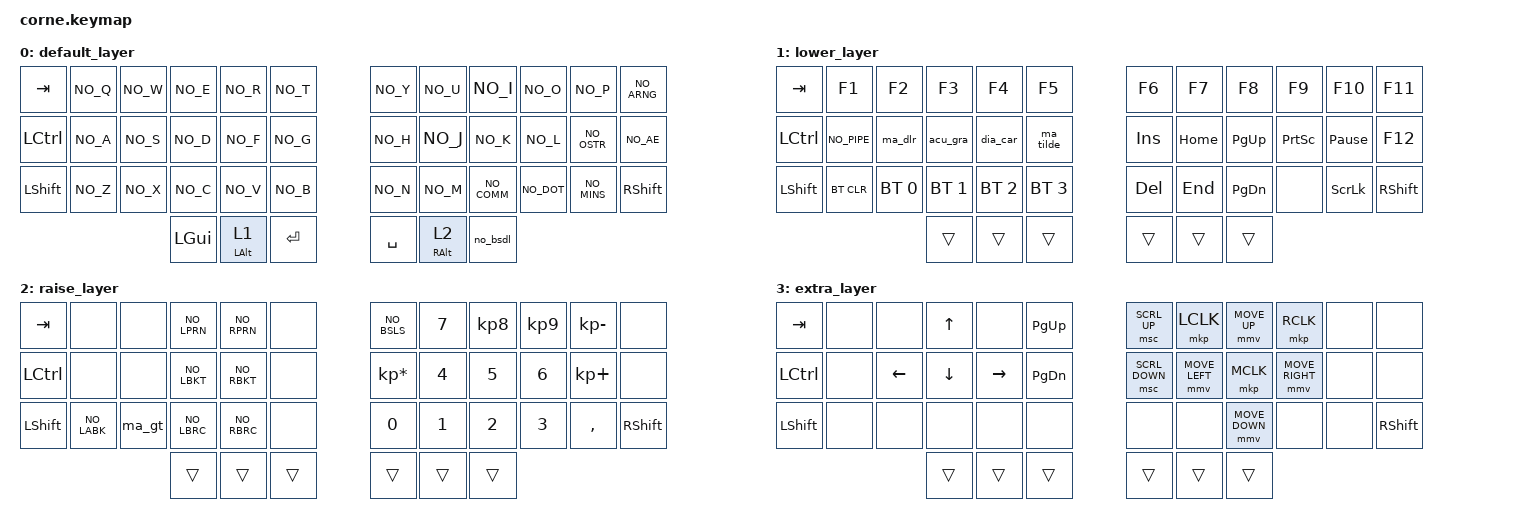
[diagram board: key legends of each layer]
/*
 * Copyright (c) 2020 The ZMK Contributors.
 *
 * SPDX-License-Identifier: MIT
 *
 * @bzgec : isyatsyso 
 ***************************************************************************************************
 * norwegian qwerty in base, with persnal flavour for add layers
 ***************************************************************************************************
 * Host layout: SI *
 ***************************************************************************************************
 * ZMK layer: (note: maybe)
 ***************************************************************************************************
 *  +--------+--------+--------+--------+--------+--------+             +--------+--------+--------+--------+--------+--------+
 *  |        |        |        |        |        |        |             |        |        |        |        |        |        |
 *  +--------+--------+--------+--------+--------+--------+             +--------+--------+--------+--------+--------+--------+
 *  |        |        |        | EP ON  | EP OFF | Reset  |             |        | To SI  | To SI  |        |        |        |
 *  |        |        |        |        |        |        |             |        | Linux  | Win    |        |        |        |
 *  +--------+--------+--------+--------+--------+--------+             +--------+--------+--------+--------+--------+--------+
 *  |        |        |        |        |        | Bootl  |             |        |        |        |        |        |        |
 *  +--------+--------+--------+----+---+----+---+----+---+----+   +----+---+----+---+----+---+----+--------+--------+--------+
 *                                  |        |        |        |   |        |        |        |
 *                                  +--------+--------+--------+   +--------+--------+--------+
 *
 * - `Reset`: Reset this side of the keyboard
 * - `Bootl`: Reset this side of the keyboard to bootloader mode
 * - `EP ON`: Enable external power (enable VCC power output)
 * - `To SI Linux`: Switch keyboard layout to match SI host layout, Linux host
 * - `To SI Win`: Switch keyboard layout to match SI host layout, Windows host
 * - `EP OFF`: Disable external power (disable VCC power output)
 *
 * - Difference between "SI Linux" and "SI Windows" is in how a few special characters
 *   are implemented but for the end use there should be no difference
 *
 *   - `no_n6_lin`    -> `no_n6_win` (`^`)
 *   - `no_grave_lin` -> `no_grave_win` (`\``, `~`)
 *
 ***************************************************************************************************
 */

#include <behaviors.dtsi>
#include <dt-bindings/zmk/keys.h>
#include <dt-bindings/zmk/bt.h>
#include <dt-bindings/zmk/pointing.h>
#include "keys_no.h"

#define xxx &none
#define ___ &trans

// https://zmk.dev/docs/features/debouncing
&kscan0 {
    debounce-press-ms = <3>;    // Default is 5 ms
    debounce-release-ms = <4>;  // Default is 5 ms
};


/ {
    macros {
        ma_gt: ma_gt {
            compatible = "zmk,behavior-macro";
            #binding-cells = <0>;
            bindings
                = <&macro_press &kp LSHFT>
                , <&macro_tap &kp NO_LABK>
                , <&macro_release &kp LSHFT>
                ;
        };
	ma_dlr: ma_dlr {
            compatible = "zmk,behavior-macro";
            #binding-cells = <0>;
            bindings
                = <&macro_press &kp LALT>
                , <&macro_tap &kp KP_N3 &kp KP_N6>
                , <&macro_release &kp LALT>
		;
	};
	ma_caret: ma_caret {
            compatible = "zmk,behavior-macro";
            #binding-cells = <0>;
            bindings
                = <&macro_press &kp LALT>
                , <&macro_tap &kp KP_N9 &kp KP_N4>
                , <&macro_release &kp LALT>
		;
	};
	ma_tilde: ma_tilde {
            compatible = "zmk,behavior-macro";
            #binding-cells = <0>;
            bindings
                = <&macro_press &kp LALT>
                , <&macro_tap &kp KP_N1 &kp KP_N2 &kp KP_N6>
                , <&macro_release &kp LALT>
		;
	};
	ma_diae: ma_diae {
            compatible = "zmk,behavior-macro";
            #binding-cells = <0>;
            bindings
                = <&macro_press &kp LALT>
                , <&macro_tap &kp KP_N0 &kp KP_N1 &kp KP_N6 &kp KP_N8 >
                , <&macro_release &kp LALT>
		;
	};
	ma_acut: ma_acut {
            compatible = "zmk,behavior-macro";
            #binding-cells = <0>;
            bindings
                = <&macro_press &kp LALT>
                , <&macro_tap &kp KP_N0 &kp KP_N1 &kp KP_N8 &kp KP_N0 >
                , <&macro_release &kp LALT>
		;
	};
};

    behaviors {
        #include "behaviors_mod_morph.dtsi"

        shft_caps: tap_dance_shift_caps_lock_toggle {
            compatible = "zmk,behavior-tap-dance";
            label = "TAB_DANCE_SHIFT_CAPS_LOCK_TOGGLE";
            #binding-cells = <0>;
            tapping-term-ms = <200>;
            bindings = <&kp LSHFT>, <&kp CAPS>;
	};

        kp_tog: behavior_kp_tog {
            compatible = "zmk,behavior-hold-tap";
            #binding-cells = <2>;
            flavor = "hold-preferred";
            tapping-term-ms = <200>;
            bindings = <&kp>, <&tog>;
        };
	// ¨ ^
	dia_car: dia_car {
	  compatible = "zmk,behavior-mod-morph";
	  #binding-cells = <0>;
	  bindings = <&ma_diae>, <&ma_caret>;
	  mods = <(MOD_LSFT|MOD_RSFT)>;
	};
	// ´ `
	acu_gra: acu_gra {
	  compatible = "zmk,behavior-mod-morph";
	  #binding-cells = <0>;
	  bindings = <&ma_acut>, <&kp NO_GRV>;
	  mods = <(MOD_LSFT|MOD_RSFT)>;
	};
    };

    combos {
        compatible = "zmk,combos";
        combo_esc {
            timeout-ms = <50>;
            key-positions = <1 2>;
            layers = <0 1 2 3>;
            bindings = <&kp ESC>;
        };
        combo_qmark {
            timeout-ms = <50>;
            key-positions = <9 10>;
            layers = <0>;
            bindings = <&kp NO_QUES>;
        };
        combo_caps {
            timeout-ms = <50>;
            key-positions = <13 14>;
            layers = <0>;
            bindings = <&kp CAPS>;
        };
	combo_sqt {
            timeout-ms = <50>;
            key-positions = <21 22>;
            layers = <0>;
            bindings = <&kp NO_QUOT>;
        };
	combo_mouselayer {
            timeout-ms = <50>;
            key-positions = <25 26>;
            layers = <0 1 2 3>;
            bindings = <&tog 3>;
        };
	combo_cmenu {
            timeout-ms = <50>;
            key-positions = <33 34>;
            layers = <0 1 2 3>;
            bindings = <&kp K_CMENU>;
        };
	combo_at-sign {
            timeout-ms = <50>;
            key-positions = <12 37 32>;
            layers = <2>;
            bindings = <&kp AT>;
        };
    };

    keymap {
        compatible = "zmk,keymap";
                default_layer {	
                        bindings = <
// |---------|---------|---------|---------|---------|----------|----|---------|---------|--------__-|---------|--------__-|---------|
// |   TAB   |   Q   <ESC>  W     |   E     |   R     |   T     |    |   Y     |   U     |   I      |   O    <?>   P       |   Å     |
// |    CTRL |   A   <CAPS> S     |   D     |   F     |   G     |    |   H     |   J     |   K       |   L     <SQT>  Ø     |  Æ     |
// |    SHFT |   Z   <MUS>  X     |   C     |   V     |   B     |    |   N     |   M     |   , ;     |   . : <CMENU> - _     |   RSHFT |
//                                    |   GUI  |                |   ENT |    |    SPC  |                |   BSPC |
   &kp TAB   &kp NO_Q  &kp NO_W  &kp NO_E  &kp NO_R  &kp NO_T       &kp NO_Y  &kp NO_U  &kp NO_I    &kp NO_O   &kp NO_P    &kp NO_ARNG
   &kp LCTRL &kp NO_A  &kp NO_S  &kp NO_D  &kp NO_F  &kp NO_G       &kp NO_H  &kp NO_J  &kp NO_K    &kp NO_L   &kp NO_OSTR &kp NO_AE
   &kp LSHFT &kp NO_Z  &kp NO_X  &kp NO_C  &kp NO_V  &kp NO_B       &kp NO_N  &kp NO_M  &kp NO_COMM &kp NO_DOT &kp NO_MINS &kp RSHFT
                                 &kp LGUI  &kp_tog LALT 1 &kp RET   &kp SPACE &kp_tog RALT 2   &no_bsdl
                        >;
                };
                lower_layer {
                        bindings = <
// |---------_|---------|---------|---------|---------|---------|----_____---|---------|---------|---------|---------|-------------------|---------|
// |   TAB    |   F1  <ESC> F2    |   F3    |   F4    |   F5    |            |   F6    |   F7    |   F8    |   F9    |   F10             |   F11   |
// | LCTRL    |   '|'§  |  $      |   ´ `   |   ¨ ^   |   ~     |            |   INS   |   HM    |   PUp   |   PrS   |   Pause Break     |   F12   |
// |   SHFT   | BTCLR <MUS> BT1   |   BT2   |   BT3   |   BT4   |            |   DEL   |   END   |   PDw   |    x <CMENU> Scrl Lck       |   RSHFT |
   &kp TAB    &kp F1      &kp F2       &kp F3       &kp F4       &kp F5             &kp F6    &kp F7    &kp F8    &kp F9    &kp F10          &kp F11
   &kp LCTRL  &kp NO_PIPE &ma_dlr      &acu_gra     &dia_car     &ma_tilde          &kp INS   &kp HOME  &kp PG_UP &kp PSCRN &kp PAUSE_BREAK  &kp F12    
   &kp LSHFT  &bt BT_CLR  &bt BT_SEL 0 &bt BT_SEL 1 &bt BT_SEL 2 &bt BT_SEL 3       &kp DEL   &kp END   &kp PG_DN xxx       &kp SLCK         &kp RSHFT  
                                       ___          ___          ___                ___       ___       ___
                        >;
                };
                raise_layer {
                        bindings = <
// |---------|---------|--------__-|--------__-|---------|---------|****|---------|---------|---------|---------|---------|---------|
// |    TAB  |   x  <ESC>   x      |    (      |   )     |   x     |    |   \     |   7 /   |   8     |    9    |     -   |   x     |
// |    CTRL |   x     |    x      |    [      |   ]     |   x     |    |   *     |   4 ¤   |   5 %   |    6 &  |     +   |   x     |
// |    SHFT |   <  <MUS>   >      |    {      |   }     |   x     |    |   0 =   |   1 !   |   2 "   |    3 #<CMENU> ,   |   RSHFT |
   &kp  TAB     xxx     xxx        &kp NO_LPRN &kp NO_RPRN   xxx        &kp NO_BSLS     &kp N7    &kp KP_N8 &kp KP_N9 &kp KP_SUBTRACT xxx  
   &kp LCTRL    xxx     xxx        &kp NO_LBKT &kp NO_RBKT   xxx        &kp KP_MULTIPLY &kp N4    &kp N5    &kp  N6   &kp KP_PLUS     xxx
   &kp LSHFT    &kp NO_LABK &ma_gt &kp NO_LBRC &kp NO_RBRC   xxx        &kp N0          &kp N1    &kp N2    &kp N3    &kp COMMA       &kp RSHFT
                                   ___     ___         ___              ___             ___       ___
                        >;
                };
                extra_layer {
                        bindings = <
// |---------|--------------|--------__-|--------__-|---------|---------|****|---------|--------__-|---------|---------|---------|---------|
   &kp  TAB     xxx   xxx         &kp UP      xxx       &kp PG_UP       &msc SCRL_UP       &mkp LCLK      &mmv MOVE_UP    &mkp RCLK       xxx   xxx
   &kp LCTRL    xxx   &kp LEFT    &kp DOWN    &kp RIGHT &kp PG_DN       &msc SCRL_DOWN     &mmv MOVE_LEFT &mkp MCLK       &mmv MOVE_RIGHT xxx   xxx
   &kp LSHFT    xxx   xxx         xxx         xxx       xxx             xxx               xxx            &mmv MOVE_DOWN  xxx             xxx   &kp RSHFT
                                        ___       ___ ___                      ___      ___            ___
                        >;
                };


    };
};


